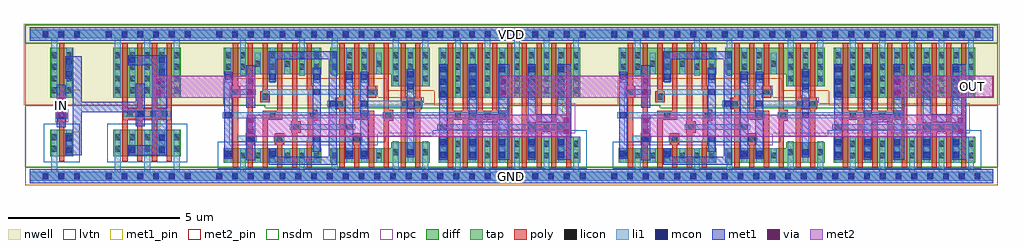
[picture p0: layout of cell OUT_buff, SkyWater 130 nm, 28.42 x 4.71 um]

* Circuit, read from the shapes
.subckt OUT_buff GND IN OUT VDD
XM1 INVX4_HS_10/A IN GND GND sky130_fd_pr__nfet_01v8_lvt w=0.76 l=0.15
XM2 DFFX4_HS_12/CK INVX4_HS_10/A GND GND sky130_fd_pr__nfet_01v8_lvt w=0.76 l=0.15 m=4
XM3 GND DFFX4_HS_12/CK n1 GND sky130_fd_pr__nfet_01v8_lvt w=0.425 l=0.15
XM4 n2 DFFX4_HS_12/D GND GND sky130_fd_pr__nfet_01v8_lvt w=0.425 l=0.15
XM5 n3 n1 n2 GND sky130_fd_pr__nfet_01v8_lvt w=0.425 l=0.15
XM6 n4 n5 n3 GND sky130_fd_pr__nfet_01v8_lvt w=0.425 l=0.15
XM7 GND n6 n4 GND sky130_fd_pr__nfet_01v8_lvt w=0.425 l=0.15
XM8 n5 n1 GND GND sky130_fd_pr__nfet_01v8_lvt w=0.425 l=0.15
XM9 n6 n3 GND GND sky130_fd_pr__nfet_01v8_lvt w=0.425 l=0.15
XM10 n7 n5 n6 GND sky130_fd_pr__nfet_01v8_lvt w=0.425 l=0.15
XM11 n8 n1 n7 GND sky130_fd_pr__nfet_01v8_lvt w=0.425 l=0.15
XM12 GND n9 n8 GND sky130_fd_pr__nfet_01v8_lvt w=0.425 l=0.15
XM13 n9 n7 GND GND sky130_fd_pr__nfet_01v8_lvt w=0.6 l=0.15 m=2
XM14 GND n9 n10 GND sky130_fd_pr__nfet_01v8_lvt w=0.76 l=0.15
XM15 DFFX4_HS_13/CK n9 GND GND sky130_fd_pr__nfet_01v8_lvt w=0.76 l=0.15 m=4
XM16 DFFX4_HS_12/D n10 GND GND sky130_fd_pr__nfet_01v8_lvt w=0.76 l=0.15 m=4
XM17 GND DFFX4_HS_13/CK n11 GND sky130_fd_pr__nfet_01v8_lvt w=0.425 l=0.15
XM18 n12 DFFX4_HS_13/D GND GND sky130_fd_pr__nfet_01v8_lvt w=0.425 l=0.15
XM19 n13 n11 n12 GND sky130_fd_pr__nfet_01v8_lvt w=0.425 l=0.15
XM20 n14 n15 n13 GND sky130_fd_pr__nfet_01v8_lvt w=0.425 l=0.15
XM21 GND n16 n14 GND sky130_fd_pr__nfet_01v8_lvt w=0.425 l=0.15
XM22 n15 n11 GND GND sky130_fd_pr__nfet_01v8_lvt w=0.425 l=0.15
XM23 n16 n13 GND GND sky130_fd_pr__nfet_01v8_lvt w=0.425 l=0.15
XM24 n17 n15 n16 GND sky130_fd_pr__nfet_01v8_lvt w=0.425 l=0.15
XM25 n18 n11 n17 GND sky130_fd_pr__nfet_01v8_lvt w=0.425 l=0.15
XM26 GND n19 n18 GND sky130_fd_pr__nfet_01v8_lvt w=0.425 l=0.15
XM27 n19 n17 GND GND sky130_fd_pr__nfet_01v8_lvt w=0.6 l=0.15 m=2
XM28 GND n19 n20 GND sky130_fd_pr__nfet_01v8_lvt w=0.76 l=0.15
XM29 OUT n19 GND GND sky130_fd_pr__nfet_01v8_lvt w=0.76 l=0.15 m=4
XM30 DFFX4_HS_13/D n20 GND GND sky130_fd_pr__nfet_01v8_lvt w=0.76 l=0.15 m=4
XM31 INVX4_HS_10/A IN VDD VDD sky130_fd_pr__pfet_01v8 w=1.46 l=0.15
XM32 DFFX4_HS_12/CK INVX4_HS_10/A VDD VDD sky130_fd_pr__pfet_01v8 w=1.46 l=0.15 m=4
XM33 VDD DFFX4_HS_12/CK n1 VDD sky130_fd_pr__pfet_01v8 w=0.78 l=0.15
XM34 n21 DFFX4_HS_12/D VDD VDD sky130_fd_pr__pfet_01v8 w=0.78 l=0.15
XM35 n3 n5 n21 VDD sky130_fd_pr__pfet_01v8 w=0.78 l=0.15
XM36 n22 n1 n3 VDD sky130_fd_pr__pfet_01v8 w=0.78 l=0.15
XM37 VDD n6 n22 VDD sky130_fd_pr__pfet_01v8 w=0.78 l=0.15
XM38 n5 n1 VDD VDD sky130_fd_pr__pfet_01v8 w=0.78 l=0.15
XM39 n6 n3 VDD VDD sky130_fd_pr__pfet_01v8 w=0.78 l=0.15
XM40 n7 n1 n6 VDD sky130_fd_pr__pfet_01v8 w=0.78 l=0.15
XM41 n23 n5 n7 VDD sky130_fd_pr__pfet_01v8 w=0.78 l=0.15
XM42 VDD n9 n23 VDD sky130_fd_pr__pfet_01v8 w=0.78 l=0.15
XM43 n9 n7 VDD VDD sky130_fd_pr__pfet_01v8 w=1.12 l=0.15 m=2
XM44 VDD n9 n10 VDD sky130_fd_pr__pfet_01v8 w=1.46 l=0.15
XM45 DFFX4_HS_13/CK n9 VDD VDD sky130_fd_pr__pfet_01v8 w=1.46 l=0.15 m=4
XM46 DFFX4_HS_12/D n10 VDD VDD sky130_fd_pr__pfet_01v8 w=1.46 l=0.15 m=4
XM47 VDD DFFX4_HS_13/CK n11 VDD sky130_fd_pr__pfet_01v8 w=0.78 l=0.15
XM48 n24 DFFX4_HS_13/D VDD VDD sky130_fd_pr__pfet_01v8 w=0.78 l=0.15
XM49 n13 n15 n24 VDD sky130_fd_pr__pfet_01v8 w=0.78 l=0.15
XM50 n25 n11 n13 VDD sky130_fd_pr__pfet_01v8 w=0.78 l=0.15
XM51 VDD n16 n25 VDD sky130_fd_pr__pfet_01v8 w=0.78 l=0.15
XM52 n15 n11 VDD VDD sky130_fd_pr__pfet_01v8 w=0.78 l=0.15
XM53 n16 n13 VDD VDD sky130_fd_pr__pfet_01v8 w=0.78 l=0.15
XM54 n17 n11 n16 VDD sky130_fd_pr__pfet_01v8 w=0.78 l=0.15
XM55 n26 n15 n17 VDD sky130_fd_pr__pfet_01v8 w=0.78 l=0.15
XM56 VDD n19 n26 VDD sky130_fd_pr__pfet_01v8 w=0.78 l=0.15
XM57 n19 n17 VDD VDD sky130_fd_pr__pfet_01v8 w=1.12 l=0.15 m=2
XM58 VDD n19 n20 VDD sky130_fd_pr__pfet_01v8 w=1.46 l=0.15
XM59 OUT n19 VDD VDD sky130_fd_pr__pfet_01v8 w=1.46 l=0.15 m=4
XM60 DFFX4_HS_13/D n20 VDD VDD sky130_fd_pr__pfet_01v8 w=1.46 l=0.15 m=4
.ends

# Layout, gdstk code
from math import pi, radians
import gdstk
lib = gdstk.Library(unit=1e-6, precision=1e-09)
def R(c, l, rs):  # rectangles x0, y0, x1, y1
    for r in rs: c.add(gdstk.rectangle(r[:2], r[2:], *l))
def A(c, l, x, y, w, h, nx, ny, dx, dy):  # array of equal rectangles
    R(c, l, [(x+i*dx, y+j*dy, x+i*dx+w, y+j*dy+h) for i in range(nx) for j in range(ny)])
def P(c, l, *ps):  # polygons
    for p in ps: c.add(gdstk.Polygon(p, *l))
nwell = (64, 20)
diff = (65, 20)
tap = (65, 44)
poly = (66, 20)
licon = (66, 44)
li1 = (67, 20)
mcon = (67, 44)
met1_pin = (68, 16)
met1 = (68, 20)
via = (68, 44)
met2_pin = (69, 16)
met2 = (69, 20)
nsdm = (93, 44)
psdm = (94, 20)
npc = (95, 20)
lvtn = (125, 44)

m1m2_c_cdns_795550039206 = lib.new_cell('M1M2_C_CDNS_7955500392068')
R(m1m2_c_cdns_795550039206, met1, [(-0.13,-0.32,0.13,0.32)])
R(m1m2_c_cdns_795550039206, via, [(-0.075,-0.235,0.075,-0.085), (-0.075,0.085,0.075,0.235)])
R(m1m2_c_cdns_795550039206, met2, [(-0.13,-0.32,0.13,0.32)])

l1m1_c_cdns_795550039206 = lib.new_cell('L1M1_C_CDNS_7955500392060')
R(l1m1_c_cdns_795550039206, li1, [(-0.085,-0.345,0.085,0.345)])
R(l1m1_c_cdns_795550039206, mcon, [(-0.085,-0.265,0.085,-0.095), (-0.085,0.095,0.085,0.265)])
R(l1m1_c_cdns_795550039206, met1, [(-0.115,-0.325,0.115,0.325)])

c_l1m1_c_cdns_795550039206 = lib.new_cell('L1M1_C_CDNS_7955500392067')
R(c_l1m1_c_cdns_795550039206, li1, [(-0.085,-0.165,0.085,0.165)])
R(c_l1m1_c_cdns_795550039206, mcon, [(-0.085,-0.085,0.085,0.085)])
R(c_l1m1_c_cdns_795550039206, met1, [(-0.115,-0.145,0.115,0.145)])

pyl1con_c_cdns_795550039 = lib.new_cell('PYL1CON_C_CDNS_7955500392066')
R(pyl1con_c_cdns_795550039, poly, [(-0.135,-0.165,0.135,0.165)])
R(pyl1con_c_cdns_795550039, licon, [(-0.085,-0.085,0.085,0.085)])
R(pyl1con_c_cdns_795550039, npc, [(-0.185,-0.185,0.185,0.185)])

c_l1m1_c_cdns_795550039206_ = lib.new_cell('L1M1_C_CDNS_7955500392065')
R(c_l1m1_c_cdns_795550039206_, li1, [(-0.085,-0.525,0.085,0.525)])
A(c_l1m1_c_cdns_795550039206_, mcon, -0.085, -0.445, 0.17, 0.17, 1, 3, 0, 0.36)
R(c_l1m1_c_cdns_795550039206_, met1, [(-0.115,-0.505,0.115,0.505)])

c_l1m1_c_cdns_795550039206__ = lib.new_cell('L1M1_C_CDNS_7955500392064')
R(c_l1m1_c_cdns_795550039206__, li1, [(-0.165,-0.085,0.165,0.085)])
R(c_l1m1_c_cdns_795550039206__, mcon, [(-0.085,-0.085,0.085,0.085)])
R(c_l1m1_c_cdns_795550039206__, met1, [(-0.115,-0.145,0.115,0.145)])

invx4_hs = lib.new_cell('INVX4_HS')
R(invx4_hs, nwell, [(-0.18,2.07,3.4,4.445)])
R(invx4_hs, diff, [(0.595,0.59,2.565,1.35), (0.595,2.285,2.565,3.745)])
P(invx4_hs, poly, [(0.86,0.44),(0.86,3.895),(1.01,3.895),(1.01,1.985),(1.29,1.985),(1.29,3.895),(1.44,3.895),(1.44,1.985),(1.72,1.985),(1.72,3.895),(1.87,3.895),(1.87,1.985),(2.15,1.985),(2.15,3.895),(2.3,3.895),(2.3,0.44),(2.15,0.44),(2.15,1.655),(1.87,1.655),(1.87,0.44),(1.72,0.44),(1.72,1.655),(1.44,1.655),(1.44,0.44),(1.29,0.44),(1.29,1.655),(1.01,1.655),(1.01,0.44)])
A(invx4_hs, licon, 0.375, -0.085, 0.17, 0.17, 6, 2, 0.46, 4.14)
A(invx4_hs, licon, 0.635, 0.715, 0.17, 0.17, 5, 2, 0.43, 0.34)
A(invx4_hs, licon, 0.635, 2.42, 0.17, 0.17, 5, 4, 0.43, 0.34)
R(invx4_hs, li1, [(1.065,0.59,1.235,1.35), (1.925,0.59,2.095,1.35), (1.065,2.285,1.235,3.745), (1.925,2.285,2.095,3.745)])
P(invx4_hs, li1, [(0,-0.125),(0,0.125),(0.635,0.125),(0.635,1.35),(0.805,1.35),(0.805,0.125),(1.495,0.125),(1.495,1.35),(1.665,1.35),(1.665,0.125),(2.355,0.125),(2.355,1.35),(2.525,1.35),(2.525,0.125),(3.22,0.125),(3.22,-0.125)],
  [(0.635,2.285),(0.635,4.015),(0,4.015),(0,4.265),(3.22,4.265),(3.22,4.015),(2.525,4.015),(2.525,2.285),(2.355,2.285),(2.355,4.015),(1.665,4.015),(1.665,2.285),(1.495,2.285),(1.495,4.015),(0.805,4.015),(0.805,2.285)])
A(invx4_hs, mcon, 0.375, -0.085, 0.17, 0.17, 6, 2, 0.46, 4.14)
R(invx4_hs, met1_pin, [(1.71,1.45,1.97,2.69), (1.25,1.455,1.51,2.695)])
P(invx4_hs, met1, [(1.15,0.61),(1.15,0.9),(1.71,0.9),(1.71,3.24),(1.15,3.24),(1.15,3.53),(2.155,3.53),(2.155,0.61)])
R(invx4_hs, nsdm, [(-0.125,0.265,3.345,2.07), (-0.125,3.875,3.345,4.405)])
R(invx4_hs, psdm, [(-0.125,-0.265,3.345,0.265), (-0.125,2.07,3.345,3.875)])
R(invx4_hs, npc, [(0.885,1.635,2.275,2.005)])
R(invx4_hs, lvtn, [(0.415,0.41,2.745,1.53)])
invx4_hs.add(gdstk.FlexPath([(1.38,1.455),(1.38,2.695)], 0.26, ends="flush", simple_path=True, layer=68, datatype=20))  # met1
invx4_hs.add(gdstk.FlexPath([(0,0),(3.22,0)], 0.4, ends="flush", simple_path=True, layer=68, datatype=20))  # met1
invx4_hs.add(gdstk.FlexPath([(0,4.14),(3.22,4.14)], 0.4, ends="flush", simple_path=True, layer=68, datatype=20))  # met1
invx4_hs.add(gdstk.FlexPath([(0.905,1.82),(2.255,1.82)], 0.17, ends="flush", simple_path=True, layer=67, datatype=20))  # li1
invx4_hs.add(gdstk.FlexPath([(0,0),(3.22,0)], 0.4, ends="flush", simple_path=True, layer=68, datatype=16))  # met1_pin
invx4_hs.add(gdstk.FlexPath([(0,4.14),(3.22,4.14)], 0.4, ends="flush", simple_path=True, layer=68, datatype=16))  # met1_pin
invx4_hs.add(gdstk.FlexPath([(0,0),(3.22,0)], 0.25, ends="flush", simple_path=True, layer=65, datatype=44))  # tap
invx4_hs.add(gdstk.FlexPath([(0,4.14),(3.22,4.14)], 0.25, ends="flush", simple_path=True, layer=65, datatype=44))  # tap
invx4_hs.add(gdstk.Reference(l1m1_c_cdns_795550039206, (2.01,0.94)))
invx4_hs.add(gdstk.Reference(c_l1m1_c_cdns_795550039206, (1.15,0.755)))
invx4_hs.add(gdstk.Reference(c_l1m1_c_cdns_795550039206, (1.15,3.385)))
invx4_hs.add(gdstk.Reference(pyl1con_c_cdns_795550039, (1.07,1.82)))
invx4_hs.add(gdstk.Reference(pyl1con_c_cdns_795550039, (1.41,1.82)))
invx4_hs.add(gdstk.Reference(pyl1con_c_cdns_795550039, (1.75,1.82)))
invx4_hs.add(gdstk.Reference(pyl1con_c_cdns_795550039, (2.09,1.82)))
invx4_hs.add(gdstk.Reference(c_l1m1_c_cdns_795550039206_, (2.01,3.025)))
invx4_hs.add(gdstk.Reference(c_l1m1_c_cdns_795550039206__, (1.38,1.82), x_reflection=True))
invx4_hs.add(gdstk.Label('VSS', (1.47,0.005), layer=68, texttype=5))
invx4_hs.add(gdstk.Label('Y', (1.855,2.045), layer=68, texttype=5))
invx4_hs.add(gdstk.Label('A', (1.395,2.05), layer=68, texttype=5))
invx4_hs.add(gdstk.Label('VDD', (1.51,4.145), layer=68, texttype=5))

invx1_hs = lib.new_cell('INVX1_HS')
R(invx1_hs, nwell, [(-0.18,2.07,2.02,4.445)])
R(invx1_hs, diff, [(0.595,0.59,1.275,1.35), (0.595,2.285,1.275,3.745)])
R(invx1_hs, poly, [(0.86,0.44,1.01,3.895)])
A(invx1_hs, licon, 0.375, -0.085, 0.17, 0.17, 3, 2, 0.46, 4.14)
A(invx1_hs, licon, 0.635, 2.42, 0.17, 0.17, 1, 4, 0, 0.34)
A(invx1_hs, licon, 1.065, 2.42, 0.17, 0.17, 1, 4, 0, 0.34)
R(invx1_hs, licon, [(0.635,0.715,0.805,0.885), (1.065,0.715,1.235,0.885), (0.635,1.055,0.805,1.225), (1.065,1.055,1.235,1.225)])
R(invx1_hs, li1, [(1.065,0.59,1.235,1.35), (1.065,2.285,1.235,3.745)])
P(invx1_hs, li1, [(0,-0.125),(0,0.125),(0.635,0.125),(0.635,1.35),(0.805,1.35),(0.805,0.125),(1.84,0.125),(1.84,-0.125)],
  [(0.635,2.285),(0.635,4.015),(0,4.015),(0,4.265),(1.84,4.265),(1.84,4.015),(0.805,4.015),(0.805,2.285)])
A(invx1_hs, mcon, 0.375, -0.085, 0.17, 0.17, 3, 2, 0.46, 4.14)
R(invx1_hs, met1_pin, [(1.25,1.28,1.51,2.52), (0.79,1.43,1.05,2.67)])
R(invx1_hs, nsdm, [(-0.125,0.265,1.965,2.07), (-0.125,3.875,1.965,4.405)])
R(invx1_hs, psdm, [(-0.125,-0.265,1.965,0.265), (-0.125,2.07,1.965,3.875)])
R(invx1_hs, lvtn, [(0.415,0.41,1.455,1.53)])
invx1_hs.add(gdstk.FlexPath([(0,0),(1.84,0)], 0.4, ends="flush", simple_path=True, layer=68, datatype=20))  # met1
invx1_hs.add(gdstk.FlexPath([(0,4.14),(1.84,4.14)], 0.4, ends="flush", simple_path=True, layer=68, datatype=20))  # met1
invx1_hs.add(gdstk.FlexPath([(0.92,1.43),(0.92,2.67)], 0.26, ends="flush", simple_path=True, layer=68, datatype=20))  # met1
invx1_hs.add(gdstk.FlexPath([(1.38,3.49),(1.38,0.605)], 0.26, ends="flush", simple_path=True, layer=68, datatype=20))  # met1
invx1_hs.add(gdstk.FlexPath([(0.755,1.765),(1.1,1.765)], 0.17, ends="flush", simple_path=True, layer=67, datatype=20))  # li1
invx1_hs.add(gdstk.FlexPath([(0,0),(1.84,0)], 0.4, ends="flush", simple_path=True, layer=68, datatype=16))  # met1_pin
invx1_hs.add(gdstk.FlexPath([(0.46,4.14),(1.84,4.14)], 0.4, ends="flush", simple_path=True, layer=68, datatype=16))  # met1_pin
invx1_hs.add(gdstk.FlexPath([(0,0),(1.84,0)], 0.25, ends="flush", simple_path=True, layer=65, datatype=44))  # tap
invx1_hs.add(gdstk.FlexPath([(0,4.14),(1.84,4.14)], 0.25, ends="flush", simple_path=True, layer=65, datatype=44))  # tap
invx1_hs.add(gdstk.Reference(pyl1con_c_cdns_795550039, (0.935,1.765), rotation=pi, x_reflection=True))
invx1_hs.add(gdstk.Reference(c_l1m1_c_cdns_795550039206__, (0.92,1.765), x_reflection=True))
invx1_hs.add(gdstk.Reference(l1m1_c_cdns_795550039206, (1.15,0.93)))
invx1_hs.add(gdstk.Reference(l1m1_c_cdns_795550039206, (1.15,3.165)))
invx1_hs.add(gdstk.Label('Y', (1.38,2.265), layer=68, texttype=5))
invx1_hs.add(gdstk.Label('A', (0.935,2.025), layer=68, texttype=5))
invx1_hs.add(gdstk.Label('VSS', (1.105,0.005), layer=68, texttype=5))
invx1_hs.add(gdstk.Label('VDD', (1.105,4.145), layer=68, texttype=5))

c_pyl1con_c_cdns_795550039 = lib.new_cell('PYL1CON_C_CDNS_7955500392070')
R(c_pyl1con_c_cdns_795550039, poly, [(-0.135,-0.29,0.135,0.29)])
R(c_pyl1con_c_cdns_795550039, licon, [(-0.085,-0.085,0.085,0.085)])
R(c_pyl1con_c_cdns_795550039, npc, [(-0.185,-0.185,0.185,0.185)])

licondiff_c_cdns_7955500 = lib.new_cell('LICONDIFF_C_CDNS_7955500392069')
R(licondiff_c_cdns_7955500, diff, [(-0.125,-0.145,0.125,0.145)])
R(licondiff_c_cdns_7955500, licon, [(-0.085,-0.085,0.085,0.085), (-0.085,-0.085,0.085,0.085)])

dffx4_hs = lib.new_cell('DFFX4_HS')
R(dffx4_hs, nwell, [(-0.18,2.07,11.68,4.445)])
R(dffx4_hs, diff, [(0.595,0.395,3.425,0.82), (6.855,0.395,10.975,1.155), (6.855,2.285,10.975,3.745), (0.595,2.965,3.425,3.745)])
P(dffx4_hs, diff, [(3.695,0.395),(3.695,0.82),(5.475,0.82),(5.475,0.995),(6.585,0.995),(6.585,0.395)],
  [(5.475,2.625),(5.475,2.965),(3.695,2.965),(3.695,3.745),(6.585,3.745),(6.585,2.625)])
A(dffx4_hs, poly, 7.12, 0.245, 0.15, 3.65, 9, 1, 0.43, 0)
R(dffx4_hs, poly, [(0.86,0.245,1.01,3.895), (1.29,0.245,1.44,3.895), (2.15,0.245,2.3,0.97), (2.58,0.245,2.73,3.895), (3.96,0.245,4.11,3.895), (4.39,0.245,4.54,0.97), (5.25,0.245,5.4,3.895), (1.72,2.315,1.87,3.895), (4.82,2.455,4.97,3.895)])
P(dffx4_hs, poly, [(5.74,0.245),(5.74,3.895),(5.89,3.895),(5.89,2.28),(6.17,2.28),(6.17,3.895),(6.32,3.895),(6.32,2.28),(6.36,2.28),(6.36,1.95),(6.32,1.95),(6.32,0.245),(6.17,0.245),(6.17,1.95),(5.89,1.95),(5.89,0.245)],
  [(4.82,0.245),(4.82,1.7),(4.39,1.7),(4.39,3.895),(4.54,3.895),(4.54,1.85),(4.97,1.85),(4.97,0.245)],
  [(3.01,0.245),(3.01,1.065),(3.04,1.065),(3.04,2.485),(3.01,2.485),(3.01,3.895),(3.16,3.895),(3.16,2.635),(3.19,2.635),(3.19,0.915),(3.16,0.915),(3.16,0.245)],
  [(1.72,0.245),(1.72,1.85),(2.15,1.85),(2.15,3.895),(2.3,3.895),(2.3,1.7),(1.87,1.7),(1.87,0.245)])
A(dffx4_hs, licon, 0.375, -0.085, 0.17, 0.17, 24, 2, 0.46, 4.14)
A(dffx4_hs, licon, 1.065, 0.52, 0.17, 0.17, 3, 2, 0.86, 2.58)
A(dffx4_hs, licon, 3.735, 0.52, 0.17, 0.17, 4, 1, 0.43, 0)
A(dffx4_hs, licon, 6.895, 0.52, 0.17, 0.17, 10, 2, 0.43, 0.34)
A(dffx4_hs, licon, 5.515, 0.61, 0.17, 0.17, 3, 2, 0.43, 2.15)
A(dffx4_hs, licon, 6.895, 2.42, 0.17, 0.17, 10, 4, 0.43, 0.34)
A(dffx4_hs, licon, 3.735, 3.1, 0.17, 0.17, 3, 2, 0.43, 0.34)
A(dffx4_hs, licon, 5.515, 3.1, 0.17, 0.17, 3, 2, 0.43, 0.34)
A(dffx4_hs, licon, 1.065, 3.44, 0.17, 0.17, 3, 1, 0.86, 0)
R(dffx4_hs, licon, [(0.635,0.52,0.805,0.69), (3.215,0.52,3.385,0.69), (0.635,3.1,0.805,3.27), (3.215,3.1,3.385,3.27), (0.635,3.44,0.805,3.61), (3.215,3.44,3.385,3.61)])
A(dffx4_hs, li1, 4.165, 0.395, 0.17, 0.425, 3, 1, 0.43, 0)
A(dffx4_hs, li1, 6.895, 0.395, 0.17, 0.76, 5, 1, 0.86, 0)
A(dffx4_hs, li1, 6.895, 2.285, 0.17, 1.46, 5, 1, 0.86, 0)
A(dffx4_hs, li1, 0.635, 2.965, 0.17, 0.78, 3, 1, 1.29, 0)
R(dffx4_hs, li1, [(0.635,0.395,0.805,0.82), (1.925,0.395,2.095,0.82), (5.945,0.395,6.115,0.995), (0.77,2.37,1.315,2.54), (5.945,2.625,6.115,3.745), (4.165,2.965,4.335,3.745), (4.595,2.965,4.765,3.745)])
P(dffx4_hs, li1, [(0,-0.125),(0,0.125),(1.065,0.125),(1.065,0.82),(1.235,0.82),(1.235,0.125),(2.785,0.125),(2.785,0.82),(2.955,0.82),(2.955,0.125),(3.735,0.125),(3.735,0.82),(3.905,0.82),(3.905,0.125),(5.515,0.125),(5.515,1.015),(5.685,1.015),(5.685,0.125),(6.375,0.125),(6.375,1.015),(6.545,1.015),(6.545,0.125),(7.325,0.125),(7.325,1.155),(7.495,1.155),(7.495,0.125),(8.185,0.125),(8.185,1.155),(8.355,1.155),(8.355,0.125),(9.045,0.125),(9.045,1.155),(9.215,1.155),(9.215,0.125),(9.905,0.125),(9.905,1.155),(10.075,1.155),(10.075,0.125),(10.765,0.125),(10.765,1.155),(10.935,1.155),(10.935,0.125),(11.5,0.125),(11.5,-0.125)],
  [(7.325,2.285),(7.325,4.015),(6.545,4.015),(6.545,2.625),(6.375,2.625),(6.375,4.015),(5.685,4.015),(5.685,2.625),(5.515,2.625),(5.515,4.015),(3.905,4.015),(3.905,2.925),(3.735,2.925),(3.735,4.015),(2.955,4.015),(2.955,2.925),(2.785,2.925),(2.785,4.015),(1.235,4.015),(1.235,2.925),(1.065,2.925),(1.065,4.015),(0,4.015),(0,4.265),(11.5,4.265),(11.5,4.015),(10.935,4.015),(10.935,2.285),(10.765,2.285),(10.765,4.015),(10.075,4.015),(10.075,2.285),(9.905,2.285),(9.905,4.015),(9.215,4.015),(9.215,2.285),(9.045,2.285),(9.045,4.015),(8.355,4.015),(8.355,2.285),(8.185,2.285),(8.185,4.015),(7.495,4.015),(7.495,2.285)],
  [(1.71,2.15),(1.71,2.54),(5.06,2.54),(5.06,2.37),(1.88,2.37),(1.88,2.15)],
  [(3.215,0.395),(3.215,1.01),(2.05,1.01),(2.05,1.18),(4.63,1.18),(4.63,1.01),(3.385,1.01),(3.385,0.395)])
A(dffx4_hs, mcon, 0.375, -0.085, 0.17, 0.17, 24, 2, 0.46, 4.14)
R(dffx4_hs, met1_pin, [(1.25,0.46,1.51,1.7), (8.615,1.21,8.875,2.45), (10.45,1.285,10.71,2.525), (1.25,1.995,1.51,3.235)])
P(dffx4_hs, met1, [(9.445,0.485),(9.445,3.255),(9.675,3.255),(9.675,1.805),(10.305,1.805),(10.305,3.255),(10.71,3.255),(10.71,0.485),(10.305,0.485),(10.305,1.575),(9.675,1.575),(9.675,0.485)],
  [(7.725,0.485),(7.725,3.255),(7.955,3.255),(7.955,1.805),(8.585,1.805),(8.585,3.255),(8.91,3.255),(8.91,0.485),(8.585,0.485),(8.585,1.575),(7.955,1.575),(7.955,0.485)])
R(dffx4_hs, nsdm, [(-0.125,3.875,11.625,4.405)])
P(dffx4_hs, nsdm, [(-0.125,0.265),(-0.125,2.07),(1.805,2.07),(1.805,1.99),(8.905,1.99),(8.905,2.07),(11.625,2.07),(11.625,0.265)])
R(dffx4_hs, psdm, [(-0.125,-0.265,11.625,0.265)])
P(dffx4_hs, psdm, [(-0.125,2.07),(-0.125,3.875),(11.625,3.875),(11.625,2.07),(6.715,2.07),(6.715,2.495),(5.335,2.495),(5.335,2.835),(0.585,2.835),(0.585,2.07)])
P(dffx4_hs, npc, [(0.75,0.91),(0.75,2.64),(5.08,2.64),(5.08,2.3),(6.41,2.3),(6.41,2.13),(10.82,2.13),(10.82,1.25),(5.08,1.25),(5.08,0.91)])
P(dffx4_hs, lvtn, [(0.415,0.215),(0.415,1),(5.295,1),(5.295,1.175),(6.675,1.175),(6.675,1.335),(11.155,1.335),(11.155,0.215)])
dffx4_hs.add(gdstk.FlexPath([(6.98,0.485),(6.98,3.255)], 0.23, ends="flush", simple_path=True, layer=68, datatype=20))  # met1
dffx4_hs.add(gdstk.FlexPath([(1.38,0.46),(1.38,1.7)], 0.26, ends="flush", simple_path=True, layer=68, datatype=20))  # met1
dffx4_hs.add(gdstk.FlexPath([(1.38,1.995),(1.38,3.235)], 0.26, ends="flush", simple_path=True, layer=68, datatype=20))  # met1
dffx4_hs.add(gdstk.FlexPath([(6.03,0.55),(6.03,3.12)], 0.23, ends="flush", simple_path=True, layer=68, datatype=20))  # met1
dffx4_hs.add(gdstk.FlexPath([(2.01,0.775),(2.01,0.455),(3.765,0.455),(3.765,3.525),(2.01,3.525),(2.01,3.015)], 0.23, ends="flush", simple_path=True, layer=68, datatype=20))  # met1
dffx4_hs.add(gdstk.FlexPath([(0.72,0.51),(0.72,3.04)], 0.23, ends="flush", simple_path=True, layer=68, datatype=20))  # met1
dffx4_hs.add(gdstk.FlexPath([(4.25,0.51),(4.25,3.04)], 0.23, ends="flush", simple_path=True, layer=68, datatype=20))  # met1
dffx4_hs.add(gdstk.FlexPath([(4.68,0.51),(4.68,3.04)], 0.23, ends="flush", simple_path=True, layer=68, datatype=20))  # met1
dffx4_hs.add(gdstk.FlexPath([(3.3,0.71),(3.3,3.16)], 0.23, ends="flush", simple_path=True, layer=68, datatype=20))  # met1
dffx4_hs.add(gdstk.FlexPath([(0,0),(11.5,0)], 0.4, ends="flush", simple_path=True, layer=68, datatype=20))  # met1
dffx4_hs.add(gdstk.FlexPath([(0,4.14),(11.5,4.14)], 0.4, ends="flush", simple_path=True, layer=68, datatype=20))  # met1
dffx4_hs.add(gdstk.FlexPath([(5.22,1.775),(8.865,1.775)], 0.17, ends="flush", simple_path=True, layer=67, datatype=20))  # li1
dffx4_hs.add(gdstk.FlexPath([(0.985,1.095),(1.53,1.095)], 0.17, ends="flush", simple_path=True, layer=67, datatype=20))  # li1
dffx4_hs.add(gdstk.FlexPath([(4.515,2.115),(6.39,2.115)], 0.17, ends="flush", simple_path=True, layer=67, datatype=20))  # li1
dffx4_hs.add(gdstk.FlexPath([(4.415,1.435),(2.51,1.435)], 0.17, ends="flush", simple_path=True, layer=67, datatype=20))  # li1
dffx4_hs.add(gdstk.FlexPath([(0.555,1.775),(4.845,1.775)], 0.17, ends="flush", simple_path=True, layer=67, datatype=20))  # li1
dffx4_hs.add(gdstk.FlexPath([(6.815,1.435),(10.585,1.435)], 0.17, ends="flush", simple_path=True, layer=67, datatype=20))  # li1
dffx4_hs.add(gdstk.FlexPath([(1.58,2.965),(1.58,3.59)], 0.17, ends="flush", simple_path=True, layer=67, datatype=20))  # li1
dffx4_hs.add(gdstk.FlexPath([(2.44,2.965),(2.44,3.59)], 0.17, ends="flush", simple_path=True, layer=67, datatype=20))  # li1
dffx4_hs.add(gdstk.FlexPath([(5.11,2.965),(5.11,3.59)], 0.17, ends="flush", simple_path=True, layer=67, datatype=20))  # li1
dffx4_hs.add(gdstk.FlexPath([(1.58,0.395),(1.58,0.82)], 0.17, ends="flush", simple_path=True, layer=67, datatype=20))  # li1
dffx4_hs.add(gdstk.FlexPath([(2.44,0.395),(2.44,0.82)], 0.17, ends="flush", simple_path=True, layer=67, datatype=20))  # li1
dffx4_hs.add(gdstk.FlexPath([(3.765,2.115),(4.15,2.115)], 0.17, ends="flush", simple_path=True, layer=67, datatype=20))  # li1
dffx4_hs.add(gdstk.FlexPath([(0,0),(11.5,0)], 0.4, ends="flush", simple_path=True, layer=68, datatype=16))  # met1_pin
dffx4_hs.add(gdstk.FlexPath([(0,4.14),(11.5,4.14)], 0.4, ends="flush", simple_path=True, layer=68, datatype=16))  # met1_pin
dffx4_hs.add(gdstk.FlexPath([(0,0),(11.5,0)], 0.25, ends="flush", simple_path=True, layer=65, datatype=44))  # tap
dffx4_hs.add(gdstk.FlexPath([(0,4.14),(11.5,4.14)], 0.25, ends="flush", simple_path=True, layer=65, datatype=44))  # tap
dffx4_hs.add(gdstk.Reference(l1m1_c_cdns_795550039206, (6.98,0.81)))
dffx4_hs.add(gdstk.Reference(l1m1_c_cdns_795550039206, (7.84,0.81)))
dffx4_hs.add(gdstk.Reference(l1m1_c_cdns_795550039206, (8.7,0.81)))
dffx4_hs.add(gdstk.Reference(l1m1_c_cdns_795550039206, (9.56,0.81)))
dffx4_hs.add(gdstk.Reference(l1m1_c_cdns_795550039206, (10.42,0.81)))
dffx4_hs.add(gdstk.Reference(l1m1_c_cdns_795550039206, (6.03,2.795), rotation=pi, x_reflection=True))
dffx4_hs.add(gdstk.Reference(pyl1con_c_cdns_795550039, (5.875,2.115), rotation=pi, x_reflection=True))
dffx4_hs.add(gdstk.Reference(pyl1con_c_cdns_795550039, (6.225,2.115), rotation=pi, x_reflection=True))
dffx4_hs.add(gdstk.Reference(pyl1con_c_cdns_795550039, (2.695,1.435), rotation=pi))
dffx4_hs.add(gdstk.Reference(pyl1con_c_cdns_795550039, (1.795,2.315), rotation=pi))
dffx4_hs.add(gdstk.Reference(pyl1con_c_cdns_795550039, (0.935,2.455), rotation=pi))
dffx4_hs.add(gdstk.Reference(pyl1con_c_cdns_795550039, (4.895,2.455), rotation=pi))
dffx4_hs.add(gdstk.Reference(pyl1con_c_cdns_795550039, (3.175,1.775)))
dffx4_hs.add(gdstk.Reference(c_pyl1con_c_cdns_795550039, (4.68,1.775), rotation=pi/2))
dffx4_hs.add(gdstk.Reference(c_l1m1_c_cdns_795550039206__, (1.38,1.095), x_reflection=True))
dffx4_hs.add(gdstk.Reference(c_l1m1_c_cdns_795550039206__, (6.98,1.435), x_reflection=True))
dffx4_hs.add(gdstk.Reference(c_l1m1_c_cdns_795550039206__, (1.365,2.455), x_reflection=True))
dffx4_hs.add(gdstk.Reference(c_pyl1con_c_cdns_795550039, (2.01,1.775), rotation=pi/2, x_reflection=True))
dffx4_hs.add(gdstk.Reference(pyl1con_c_cdns_795550039, (1.365,1.095), x_reflection=True))
dffx4_hs.add(gdstk.Reference(pyl1con_c_cdns_795550039, (2.215,1.095), x_reflection=True))
dffx4_hs.add(gdstk.Reference(pyl1con_c_cdns_795550039, (4.465,1.095), x_reflection=True))
dffx4_hs.add(gdstk.Reference(pyl1con_c_cdns_795550039, (5.385,1.775), x_reflection=True))
dffx4_hs.add(gdstk.Reference(pyl1con_c_cdns_795550039, (3.975,2.115), x_reflection=True))
dffx4_hs.add(gdstk.Reference(licondiff_c_cdns_7955500, (1.58,0.605)))
dffx4_hs.add(gdstk.Reference(licondiff_c_cdns_7955500, (2.44,0.605)))
dffx4_hs.add(gdstk.Reference(licondiff_c_cdns_7955500, (1.58,3.275)))
dffx4_hs.add(gdstk.Reference(licondiff_c_cdns_7955500, (2.44,3.275)))
dffx4_hs.add(gdstk.Reference(licondiff_c_cdns_7955500, (5.11,3.275)))
dffx4_hs.add(gdstk.Reference(c_l1m1_c_cdns_795550039206__, (0.72,1.775), rotation=pi, x_reflection=True))
dffx4_hs.add(gdstk.Reference(c_l1m1_c_cdns_795550039206__, (6.03,1.775), rotation=pi, x_reflection=True))
dffx4_hs.add(gdstk.Reference(pyl1con_c_cdns_795550039, (9.56,1.435), rotation=pi/2, x_reflection=True))
dffx4_hs.add(gdstk.Reference(pyl1con_c_cdns_795550039, (9.99,1.435), rotation=pi/2, x_reflection=True))
dffx4_hs.add(gdstk.Reference(pyl1con_c_cdns_795550039, (10.42,1.435), rotation=pi/2, x_reflection=True))
dffx4_hs.add(gdstk.Reference(pyl1con_c_cdns_795550039, (7.41,1.775), rotation=pi/2, x_reflection=True))
dffx4_hs.add(gdstk.Reference(pyl1con_c_cdns_795550039, (7.84,1.775), rotation=pi/2, x_reflection=True))
dffx4_hs.add(gdstk.Reference(pyl1con_c_cdns_795550039, (8.27,1.775), rotation=pi/2, x_reflection=True))
dffx4_hs.add(gdstk.Reference(pyl1con_c_cdns_795550039, (8.7,1.775), rotation=pi/2, x_reflection=True))
dffx4_hs.add(gdstk.Reference(c_l1m1_c_cdns_795550039206, (0.72,0.655), rotation=pi, x_reflection=True))
dffx4_hs.add(gdstk.Reference(c_l1m1_c_cdns_795550039206, (2.01,0.655), rotation=pi, x_reflection=True))
dffx4_hs.add(gdstk.Reference(c_l1m1_c_cdns_795550039206, (4.25,0.655), rotation=pi, x_reflection=True))
dffx4_hs.add(gdstk.Reference(c_l1m1_c_cdns_795550039206, (4.68,0.655), rotation=pi, x_reflection=True))
dffx4_hs.add(gdstk.Reference(c_l1m1_c_cdns_795550039206, (6.03,0.695), rotation=pi, x_reflection=True))
dffx4_hs.add(gdstk.Reference(c_l1m1_c_cdns_795550039206, (0.72,2.895), rotation=pi, x_reflection=True))
dffx4_hs.add(gdstk.Reference(c_l1m1_c_cdns_795550039206, (2.01,2.895), rotation=pi, x_reflection=True))
dffx4_hs.add(gdstk.Reference(c_l1m1_c_cdns_795550039206, (3.3,2.895), rotation=pi, x_reflection=True))
dffx4_hs.add(gdstk.Reference(c_l1m1_c_cdns_795550039206, (4.25,2.895), rotation=pi, x_reflection=True))
dffx4_hs.add(gdstk.Reference(c_l1m1_c_cdns_795550039206, (4.68,2.895), rotation=pi, x_reflection=True))
dffx4_hs.add(gdstk.Reference(c_l1m1_c_cdns_795550039206__, (3.3,1.095)))
dffx4_hs.add(gdstk.Reference(c_l1m1_c_cdns_795550039206__, (4.25,1.435)))
dffx4_hs.add(gdstk.Reference(c_l1m1_c_cdns_795550039206__, (3.765,2.115)))
dffx4_hs.add(gdstk.Reference(c_l1m1_c_cdns_795550039206__, (4.68,2.115)))
dffx4_hs.add(gdstk.Reference(c_l1m1_c_cdns_795550039206__, (3.3,2.455)))
dffx4_hs.add(gdstk.Reference(c_l1m1_c_cdns_795550039206_, (6.98,2.75)))
dffx4_hs.add(gdstk.Reference(c_l1m1_c_cdns_795550039206_, (7.84,2.75)))
dffx4_hs.add(gdstk.Reference(c_l1m1_c_cdns_795550039206_, (8.7,2.75)))
dffx4_hs.add(gdstk.Reference(c_l1m1_c_cdns_795550039206_, (9.56,2.75)))
dffx4_hs.add(gdstk.Reference(c_l1m1_c_cdns_795550039206_, (10.42,2.75)))
dffx4_hs.add(gdstk.Label('VSS', (5.285,0.005), layer=68, texttype=5))
dffx4_hs.add(gdstk.Label('VDD', (5.285,4.145), layer=68, texttype=5))
dffx4_hs.add(gdstk.Label('QN', (10.595,1.88), layer=68, texttype=5))
dffx4_hs.add(gdstk.Label('Q', (8.76,1.805), layer=68, texttype=5))
dffx4_hs.add(gdstk.Label('D', (1.395,1.055), layer=68, texttype=5))
dffx4_hs.add(gdstk.Label('CK', (1.405,2.6), layer=68, texttype=5))

out_buff = lib.new_cell('OUT_buff')
R(out_buff, met1_pin, [(17.75,1.9,45.71,2.235), (17.74,6.045,45.75,6.4)])
R(out_buff, met2_pin, [(18.505,3.825,18.755,4.455), (44.56,4.38,45.75,5)])
R(out_buff, met2, [(24.03,3.235,33.47,3.875), (35.53,3.235,44.97,3.875), (21.33,4.37,24.28,5.01), (31.385,4.37,35.775,5.01), (42.875,4.37,45.78,5.01)])
out_buff.add(gdstk.FlexPath([(19.07,4.095),(21.055,4.095)], 0.3, ends="flush", simple_path=True, layer=68, datatype=20))  # met1
out_buff.add(gdstk.Reference(m1m2_c_cdns_795550039206, (24.155,3.555)))
out_buff.add(gdstk.Reference(m1m2_c_cdns_795550039206, (33.33,3.555)))
out_buff.add(gdstk.Reference(m1m2_c_cdns_795550039206, (35.655,3.555)))
out_buff.add(gdstk.Reference(m1m2_c_cdns_795550039206, (44.82,3.555)))
out_buff.add(gdstk.Reference(m1m2_c_cdns_795550039206, (18.63,4.14)))
out_buff.add(gdstk.Reference(m1m2_c_cdns_795550039206, (21.455,4.69)))
out_buff.add(gdstk.Reference(m1m2_c_cdns_795550039206, (24.15,4.69)))
out_buff.add(gdstk.Reference(m1m2_c_cdns_795550039206, (31.515,4.69)))
out_buff.add(gdstk.Reference(m1m2_c_cdns_795550039206, (35.65,4.69)))
out_buff.add(gdstk.Reference(m1m2_c_cdns_795550039206, (43.005,4.69)))
out_buff.add(gdstk.Reference(invx4_hs, (19.55,2.08)))
out_buff.add(gdstk.Reference(invx1_hs, (17.71,2.08)))
out_buff.add(gdstk.Reference(dffx4_hs, (22.77,2.08)))
out_buff.add(gdstk.Reference(dffx4_hs, (34.27,2.08)))
out_buff.add(gdstk.Label('VDD', (31.745,6.222), layer=68, texttype=5))
out_buff.add(gdstk.Label('GND', (31.73,2.067), layer=68, texttype=5))
out_buff.add(gdstk.Label('IN', (18.63,4.14), layer=69, texttype=5))
out_buff.add(gdstk.Label('OUT', (45.155,4.69), layer=69, texttype=5))

lib.write_gds('OUT_buff.gds')
